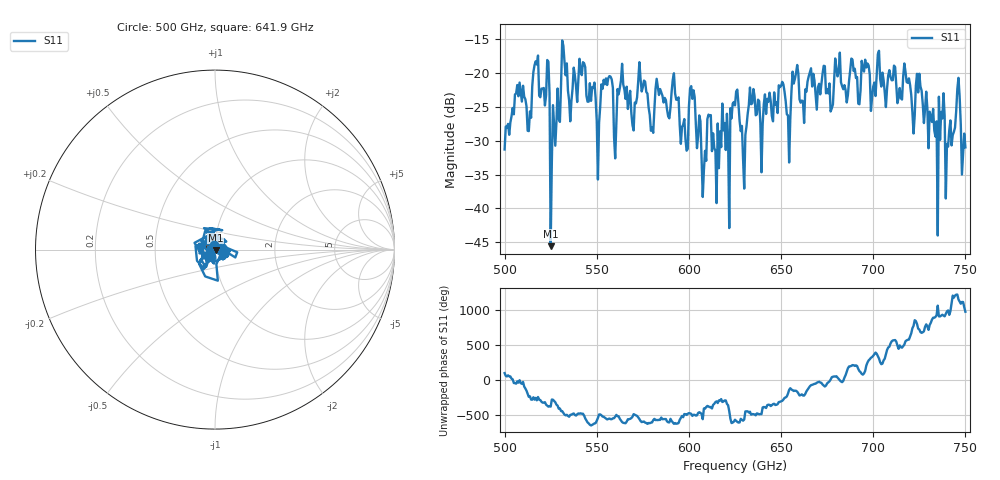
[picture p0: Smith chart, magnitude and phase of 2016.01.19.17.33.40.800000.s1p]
!Created with skrf (http://scikit-rf.org).
# GHz S RI R 50.0
!freq ReS11 ImS11
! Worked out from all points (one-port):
!   401 points, 500 GHz to 750 GHz, reference 50 ohm
!   lowest |S11| = -45.6 dB at 525 GHz (marker M1), VSWR 1.01, Z = 50.5 - j0.183 ohm
!   |S11| at or under -10 dB: start of sweep to end of sweep
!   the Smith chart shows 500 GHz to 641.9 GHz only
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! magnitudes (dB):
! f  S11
! 500 GHz  -31.3
! 506.9 GHz  -21.8
! 513.1 GHz  -28.6
! 516.9 GHz  -18.3
! 523.1 GHz  -18.1
! 525 GHz  -45.6
! 526.2 GHz  -24.8
! 531.2 GHz  -15.2
! 542.5 GHz  -18.4
! 550.6 GHz  -35.7
! 562.5 GHz  -22.2
! 593.8 GHz  -23.9
! 598.1 GHz  -29.8
! 601.9 GHz  -23.8
! 608.1 GHz  -34.4
! 611.2 GHz  -26.4
! 620.6 GHz  -26.0
! 625 GHz  -24.8
! 629.4 GHz  -32.7
! 634.4 GHz  -24.5
! 650 GHz  -21.9
! 653.8 GHz  -26.3
! 656.2 GHz  -19.8
! 687.5 GHz  -19.6
! 718.8 GHz  -21.5
! 733.8 GHz  -29.4
! 746.2 GHz  -20.7
! 750 GHz  -31.0
